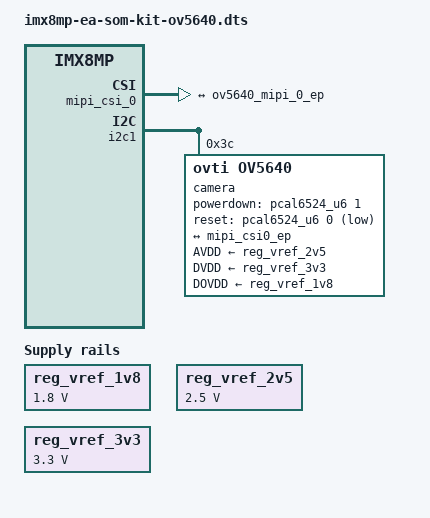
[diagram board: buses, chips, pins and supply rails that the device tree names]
/*
 * Copyright 2025 Embedded Artists AB
 *
 * The code contained herein is licensed under the GNU General Public
 * License. You may obtain a copy of the GNU General Public License
 * Version 2 or later at the following locations:
 *
 * http://www.opensource.org/licenses/gpl-license.html
 * http://www.gnu.org/copyleft/gpl.html
 */

/* For using onboard DeepX module. PCIe on Carrier Board not available. */

/dts-v1/;

#include "imx8mp-ea-som-kit.dts"

/ {

	regulators {
		compatible = "simple-bus";

		reg_vref_1v8: regulator-vref-1v8 {
			compatible = "regulator-fixed";
			regulator-name = "vref-1v8";
			regulator-min-microvolt = <1800000>;
			regulator-max-microvolt = <1800000>;
		};

		reg_vref_2v5: regulator-vref-2v5 {
			compatible = "regulator-fixed";
			regulator-name = "vref-2v5";
			regulator-min-microvolt = <2500000>;
			regulator-max-microvolt = <2500000>;
		};

		reg_vref_3v3: regulator-vref-3v3 {
			compatible = "regulator-fixed";
			regulator-name = "vref-3v3";
			regulator-min-microvolt = <3300000>;
			regulator-max-microvolt = <3300000>;
		};
	};
};

&mipi_csi_0 {
	status = "okay";

	port {
		mipi_csi0_ep: endpoint {
			remote-endpoint = <&ov5640_mipi_0_ep>;
			data-lanes = <2>;
			csis-hs-settle = <13>;
			csis-clk-settle = <2>;
			csis-wclk;
		};
	};
};

&i2c1 {
	camera@3c {
		compatible = "ovti,ov5640";
		reg = <0x3c>;
		status = "okay";
		clocks = <&clk IMX8MP_CLK_IPP_DO_CLKO2>;
		clock-names = "xclk";
		assigned-clocks = <&clk IMX8MP_CLK_IPP_DO_CLKO2>;
		assigned-clock-parents = <&clk IMX8MP_CLK_24M>;
		assigned-clock-rates = <24000000>;
		csi_id = <0>;

		AVDD-supply = <&reg_vref_2v5>;
		DVDD-supply = <&reg_vref_3v3>;
		DOVDD-supply = <&reg_vref_1v8>;

		powerdown-gpios = <&pcal6524_u6 1 GPIO_ACTIVE_HIGH>;
		reset-gpios = <&pcal6524_u6 0 GPIO_ACTIVE_LOW>;
		mclk = <12000000>;
		mclk_source = <0>;
		mipi_csi;
		port {
			ov5640_mipi_0_ep: endpoint {
				remote-endpoint = <&mipi_csi0_ep>;
				data-lanes = <1 2>;
				clock-lanes = <0>;
			};
		};
	};
};

&pcal6524_u6 {
	/delete-node/ hog_CSI0_RST_DATA;
	/delete-node/ hog_CSI0_PWR_CLK;
};

